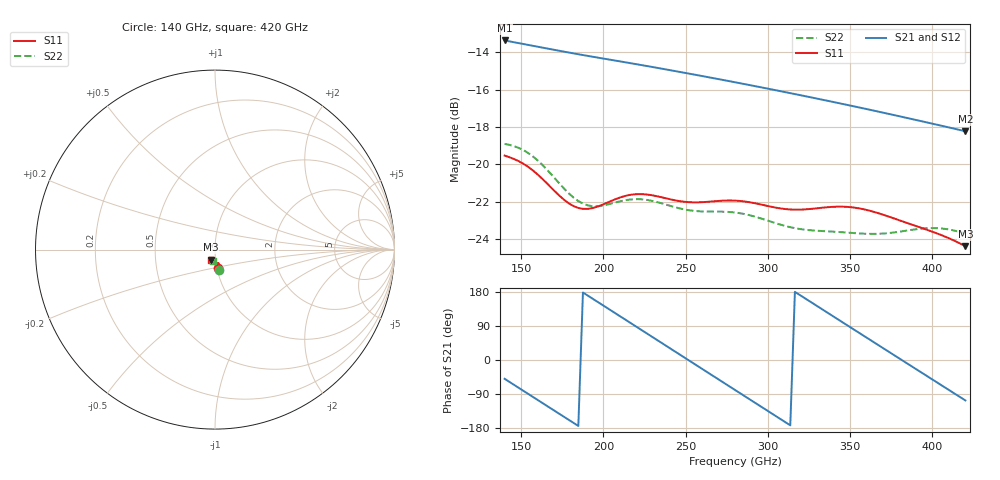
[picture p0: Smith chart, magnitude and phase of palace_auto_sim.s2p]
#  GHZ S DB R 50
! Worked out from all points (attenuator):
!   101 points, 140 GHz to 420 GHz, reference 50 ohm
!   highest |S21| = -13.38 dB at 140 GHz (marker M1); lowest = -18.2 dB at 420 GHz (marker M2)
!   lowest |S11| = -24.4 dB at 420 GHz (marker M3), VSWR 1.13, Z = 47.4 - j5.3 ohm
!   |S11| at or under -10 dB: start of sweep to end of sweep
!   |S22| runs from -23.7 to -18.9 dB; largest |S21 - S12| = 3e-15
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140  -19.53 -80.6  -13.38 -49.7  -13.38 -49.7  -18.90 -78.6
151.2  -19.95 -82.7  -13.56 -80.7  -13.56 -80.7  -19.22 -82.2
162.4  -20.72 -84.9  -13.75 -111.9  -13.75 -111.9  -19.97 -86.1
176.4  -21.90 -83.5  -13.98 -150.8  -13.98 -150.8  -21.31 -87.0
187.6  -22.37 -78.9  -14.16 178.1  -14.16 178.1  -22.09 -83.6
198.8  -22.17 -75.4  -14.32 147.0  -14.32 147.0  -22.21 -79.7
212.8  -21.69 -76.0  -14.53 108.1  -14.53 108.1  -21.92 -79.0
224  -21.59 -78.7  -14.70 76.9  -14.70 76.9  -21.87 -81.0
235.2  -21.75 -81.1  -14.88 45.7  -14.88 45.7  -22.07 -83.0
254.8  -22.02 -82.5  -15.19 -8.9  -15.19 -8.9  -22.48 -84.0
268.8  -21.96 -83.9  -15.42 -47.9  -15.42 -47.9  -22.52 -84.8
280  -21.93 -86.2  -15.61 -79.0  -15.61 -79.0  -22.57 -86.5
291.2  -22.05 -88.7  -15.80 -110.2  -15.80 -110.2  -22.76 -88.5
305.2  -22.31 -90.7  -16.04 -149.1  -16.04 -149.1  -23.15 -89.9
316.4  -22.41 -91.5  -16.24 179.8  -16.24 179.8  -23.40 -89.9
327.6  -22.36 -92.7  -16.44 148.7  -16.44 148.7  -23.53 -89.7
338.8  -22.27 -95.0  -16.65 117.7  -16.65 117.7  -23.58 -89.9
350  -22.28 -98.2  -16.85 86.6  -16.85 86.6  -23.65 -90.3
375.2  -22.84 -105.2  -17.33 16.9  -17.33 16.9  -23.65 -90.6
386.4  -23.18 -107.4  -17.55 -14.0  -17.55 -14.0  -23.50 -91.4
400.4  -23.61 -109.9  -17.83 -52.7  -17.83 -52.7  -23.40 -93.9
420  -24.36 -113.0  -18.23 -106.7  -18.23 -106.7  -23.69 -97.7
